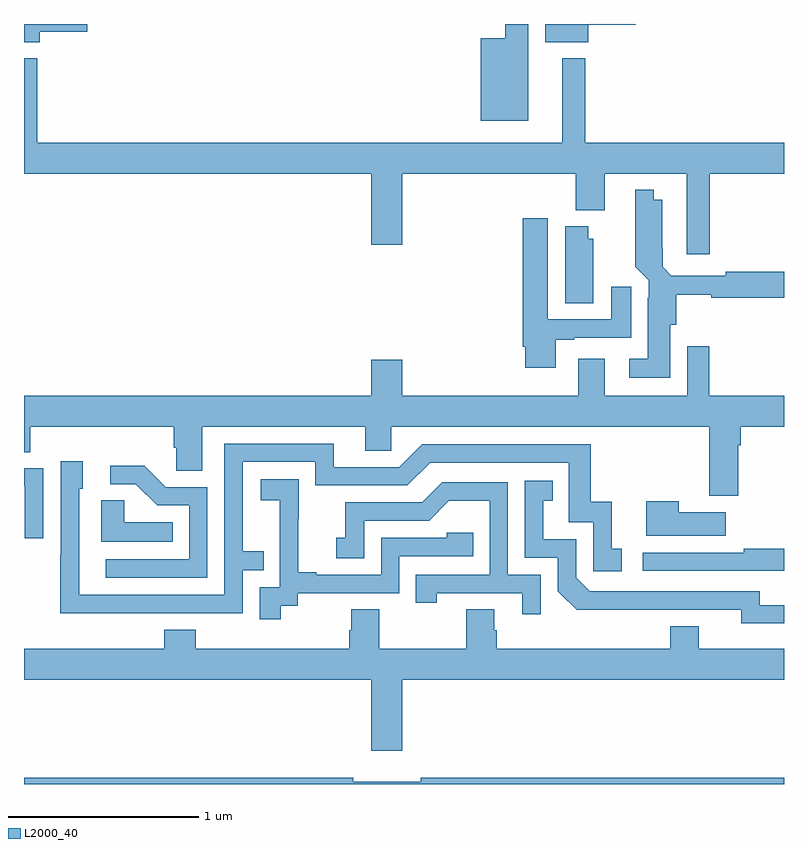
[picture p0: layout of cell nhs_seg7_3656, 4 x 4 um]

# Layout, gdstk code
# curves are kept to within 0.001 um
import gdstk
lib = gdstk.Library(unit=1e-6, precision=1e-09)
def P(c, l, *ps):  # polygons
    for p in ps: c.add(gdstk.Polygon(p, *l))
L2000_40 = (2000, 40)

nhs_seg7_3656 = lib.new_cell('nhs_seg7_3656')
P(nhs_seg7_3656, L2000_40, [(345.655,1072),(345.534,1072),(345.534,1071.925),(345.404,1071.925),(345.404,1071.491),(345.655,1071.491)],
  [(345.97,1071.995),(346.219,1071.995),(346.219,1072),(345.743,1072),(345.743,1071.905),(345.97,1071.905)],
  [(343.084,1071.959),(343.333,1071.959),(343.333,1072),(343,1072),(343,1071.905),(343.084,1071.905)],
  [(346.61,1071.212),(347,1071.212),(347,1071.376),(345.955,1071.376),(345.955,1071.82),(345.833,1071.82),(345.833,1071.376),(343.069,1071.376),(343.069,1071.82),(343,1071.82),(343,1071.212),(344.828,1071.212),(344.828,1070.838),(344.992,1070.838),(344.992,1071.212),(345.905,1071.212),(345.905,1071.02),(346.057,1071.02),(346.057,1071.212),(346.487,1071.212),(346.487,1070.787),(346.61,1070.787)],
  [(346.402,1070.418),(346.433,1070.418),(346.433,1070.575),(346.616,1070.575),(346.616,1070.56),(347,1070.56),(347,1070.696),(346.693,1070.696),(346.693,1070.676),(346.407,1070.676),(346.361,1070.722),(346.36,1071.076),(346.315,1071.076),(346.315,1071.127),(346.218,1071.127),(346.217,1070.722),(346.287,1070.652),(346.287,1070.558),(346.283,1070.558),(346.283,1070.239),(346.185,1070.239),(346.185,1070.138),(346.402,1070.138)],
  [(345.799,1070.337),(345.895,1070.337),(345.895,1070.349),(346.195,1070.349),(346.195,1070.617),(346.091,1070.617),(346.091,1070.445),(345.757,1070.445),(345.757,1070.977),(345.626,1070.977),(345.626,1070.302),(345.638,1070.302),(345.638,1070.19),(345.799,1070.19)],
  [(345.997,1070.871),(345.97,1070.871),(345.97,1070.935),(345.848,1070.935),(345.848,1070.53),(345.997,1070.53)],
  [(346.759,1069.784),(346.772,1069.784),(346.772,1069.88),(347,1069.88),(347,1070.044),(346.607,1070.044),(346.607,1070.305),(346.491,1070.305),(346.491,1070.044),(346.057,1070.044),(346.057,1070.239),(345.917,1070.239),(345.917,1070.044),(344.992,1070.044),(344.992,1070.233),(344.828,1070.233),(344.828,1070.044),(343,1070.044),(343,1069.747),(343.034,1069.747),(343.034,1069.88),(343.787,1069.88),(343.787,1069.771),(343.8,1069.771),(343.8,1069.648),(343.939,1069.648),(343.939,1069.88),(344.795,1069.88),(344.795,1069.753),(344.934,1069.753),(344.934,1069.88),(346.607,1069.88),(346.607,1069.518),(346.759,1069.518)],
  [(343.655,1068.9),(344.151,1068.9),(344.151,1069.125),(344.261,1069.125),(344.261,1069.226),(344.151,1069.226),(344.151,1069.695),(344.532,1069.695),(344.532,1069.572),(345.018,1069.572),(345.138,1069.692),(345.867,1069.692),(345.867,1069.377),(345.996,1069.377),(345.996,1069.119),(346.147,1069.119),(346.147,1069.239),(346.094,1069.239),(346.094,1069.486),(345.983,1069.486),(345.983,1069.788),(345.096,1069.788),(344.976,1069.668),(344.629,1069.668),(344.629,1069.791),(344.055,1069.791),(344.055,1068.996),(343.29,1068.996),(343.29,1069.554),(343.309,1069.554),(343.309,1069.699),(343.194,1069.699),(343.194,1069.205),(343.192,1069.205),(343.192,1068.899)],
  [(343.965,1069.563),(343.746,1069.563),(343.633,1069.676),(343.455,1069.676),(343.455,1069.578),(343.589,1069.578),(343.7,1069.467),(343.869,1069.467),(343.869,1069.182),(343.431,1069.182),(343.431,1069.086),(343.965,1069.086)],
  [(343.101,1069.662),(343,1069.662),(343,1069.566),(343.005,1069.566),(343.005,1069.293),(343.101,1069.293)],
  [(344.35,1068.937),(344.442,1068.937),(344.442,1069.005),(344.976,1069.005),(344.976,1069.2),(345.365,1069.2),(345.365,1069.323),(345.225,1069.323),(345.225,1069.296),(344.88,1069.296),(344.88,1069.101),(344.539,1069.101),(344.539,1069.114),(344.444,1069.114),(344.444,1069.397),(344.445,1069.397),(344.445,1069.603),(344.247,1069.603),(344.247,1069.493),(344.345,1069.493),(344.345,1069.265),(344.346,1069.265),(344.346,1069.035),(344.241,1069.035),(344.241,1068.867),(344.35,1068.867)],
  [(347,1068.942),(346.872,1068.942),(346.872,1069.014),(345.978,1069.014),(345.906,1069.086),(345.906,1069.287),(345.733,1069.287),(345.733,1069.491),(345.782,1069.491),(345.782,1069.597),(345.636,1069.597),(345.636,1069.191),(345.81,1069.191),(345.81,1069.014),(345.908,1068.917),(346.776,1068.918),(346.776,1068.845),(347,1068.845)],
  [(345.172,1068.954),(345.172,1069.005),(345.623,1069.005),(345.623,1068.894),(345.72,1068.894),(345.72,1069.101),(345.546,1069.101),(345.546,1069.587),(345.2,1069.587),(345.095,1069.482),(344.692,1069.482),(344.692,1069.297),(344.643,1069.297),(344.643,1069.188),(344.79,1069.188),(344.79,1069.386),(345.132,1069.386),(345.236,1069.49),(345.45,1069.49),(345.45,1069.101),(345.061,1069.101),(345.061,1068.954)],
  [(343.784,1069.378),(343.527,1069.378),(343.527,1069.493),(343.406,1069.493),(343.406,1069.274),(343.784,1069.274)],
  [(346.693,1069.429),(346.445,1069.429),(346.445,1069.489),(346.274,1069.489),(346.274,1069.307),(346.693,1069.307)],
  [(347,1069.238),(346.789,1069.238),(346.789,1069.218),(346.257,1069.218),(346.257,1069.122),(347,1069.122)],
  [(344.992,1068.548),(347,1068.548),(347,1068.712),(346.552,1068.712),(346.552,1068.829),(346.4,1068.829),(346.4,1068.712),(345.488,1068.712),(345.488,1068.81),(345.475,1068.81),(345.475,1068.92),(345.328,1068.92),(345.328,1068.712),(344.871,1068.712),(344.871,1068.92),(344.723,1068.92),(344.723,1068.81),(344.711,1068.81),(344.711,1068.712),(343.904,1068.712),(343.904,1068.811),(343.739,1068.811),(343.739,1068.712),(343,1068.712),(343,1068.548),(344.828,1068.548),(344.828,1068.174),(344.992,1068.174)],
  [(347,1068.032),(345.088,1068.032),(345.088,1068.013),(344.732,1068.013),(344.732,1068.032),(343,1068.032),(343,1068),(347,1068)])

lib.write_gds('nhs_seg7_3656.gds')
